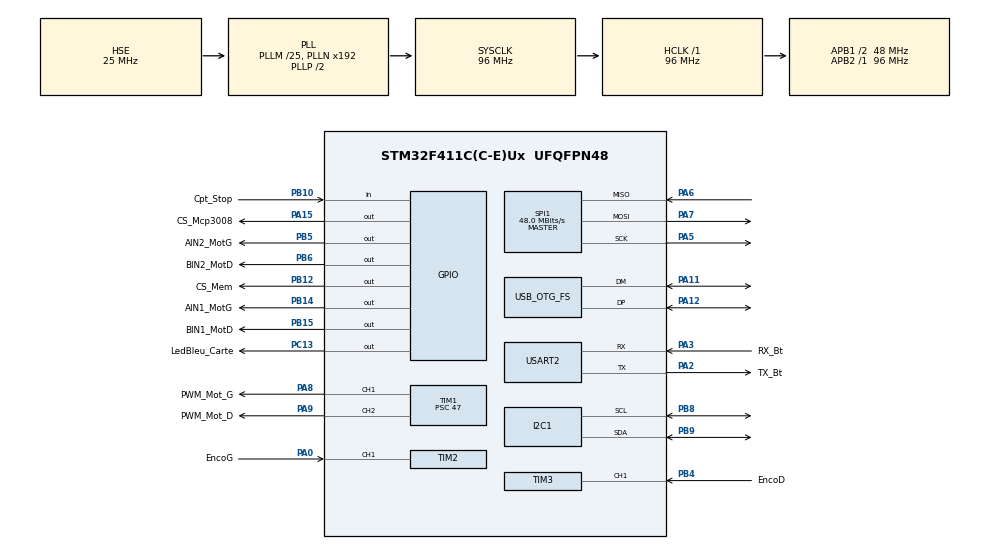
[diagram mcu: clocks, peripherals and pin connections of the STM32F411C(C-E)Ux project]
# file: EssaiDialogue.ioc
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Dma.Request0=USART2_RX
Dma.Request1=USART2_TX
Dma.USART2_RX.0.Direction=DMA_PERIPH_TO_MEMORY
Dma.USART2_RX.0.FIFOMode=DMA_FIFOMODE_DISABLE
Dma.USART2_RX.0.Instance=DMA1_Stream5
Dma.USART2_RX.0.MemDataAlignment=DMA_MDATAALIGN_BYTE
Dma.USART2_RX.0.MemInc=DMA_MINC_ENABLE
Dma.USART2_RX.0.Mode=DMA_CIRCULAR
Dma.USART2_RX.0.PeriphDataAlignment=DMA_PDATAALIGN_BYTE
Dma.USART2_RX.0.PeriphInc=DMA_PINC_DISABLE
Dma.USART2_RX.0.Priority=DMA_PRIORITY_LOW
Dma.USART2_TX.1.Direction=DMA_MEMORY_TO_PERIPH
Dma.USART2_TX.1.FIFOMode=DMA_FIFOMODE_DISABLE
Dma.USART2_TX.1.Instance=DMA1_Stream6
Dma.USART2_TX.1.MemDataAlignment=DMA_MDATAALIGN_BYTE
Dma.USART2_TX.1.MemInc=DMA_MINC_ENABLE
Dma.USART2_TX.1.Mode=DMA_NORMAL
Dma.USART2_TX.1.PeriphDataAlignment=DMA_PDATAALIGN_BYTE
Dma.USART2_TX.1.PeriphInc=DMA_PINC_DISABLE
Dma.USART2_TX.1.Priority=DMA_PRIORITY_LOW
Mcu.Family=STM32F4
Mcu.Name=STM32F411C(C-E)Ux
Mcu.Package=UFQFPN48
NVIC.DMA1_Stream5_IRQn=true\:0\:0\:false\:false\:true\:false\:true\:true
NVIC.DMA1_Stream6_IRQn=true\:0\:0\:false\:false\:true\:false\:true\:true
NVIC.OTG_FS_IRQn=true\:0\:0\:false\:false\:true\:false\:true\:true
NVIC.PriorityGroup=NVIC_PRIORITYGROUP_4
NVIC.TIM3_IRQn=true\:0\:0\:false\:false\:true\:true\:true\:true
NVIC.USART2_IRQn=true\:0\:0\:false\:false\:true\:true\:true\:true
PA0-WKUP.GPIO_Label=EncoG
PA0-WKUP.GPIO_PuPd=GPIO_PULLUP
PA0-WKUP.Signal=S_TIM2_CH1_ETR
PA11.Mode=Device_Only
PA11.Signal=USB_OTG_FS_DM
PA12.Mode=Device_Only
PA12.Signal=USB_OTG_FS_DP
PA13.Mode=Serial_Wire
PA13.Signal=SYS_JTMS-SWDIO
PA14.Mode=Serial_Wire
PA14.Signal=SYS_JTCK-SWCLK
PA15.GPIO_Label=CS_Mcp3008
PA15.Signal=GPIO_Output
PA2.GPIO_Label=TX_Bt
PA2.Mode=Asynchronous
PA2.Signal=USART2_TX
PA3.GPIO_Label=RX_Bt
PA3.Mode=Asynchronous
PA3.Signal=USART2_RX
PA5.Mode=Full_Duplex_Master
PA5.Signal=SPI1_SCK
PA6.Mode=Full_Duplex_Master
PA6.Signal=SPI1_MISO
PA7.Mode=Full_Duplex_Master
PA7.Signal=SPI1_MOSI
PA8.GPIO_Label=PWM_Mot_G
PA8.Signal=S_TIM1_CH1
PA9.GPIO_Label=PWM_Mot_D
PA9.Signal=S_TIM1_CH2
PB10.GPIO_Label=Cpt_Stop
PB10.Signal=GPIO_Input
PB12.GPIO_Label=CS_Mem
PB12.Signal=GPIO_Output
PB14.GPIO_Label=AIN1_MotG
PB14.Signal=GPIO_Output
PB15.GPIO_Label=BIN1_MotD
PB15.Signal=GPIO_Output
PB4.GPIO_Label=EncoD
PB4.GPIO_PuPd=GPIO_PULLUP
PB4.Signal=S_TIM3_CH1
PB5.GPIO_Label=AIN2_MotG
PB5.Signal=GPIO_Output
PB6.GPIO_Label=BIN2_MotD
PB6.Signal=GPIO_Output
PB8.Mode=I2C
PB8.Signal=I2C1_SCL
PB9.Mode=I2C
PB9.Signal=I2C1_SDA
PC13-ANTI_TAMP.GPIO_Label=LedBleu_Carte
PC13-ANTI_TAMP.Signal=GPIO_Output
PH0\ -\ OSC_IN.Mode=HSE-External-Oscillator
PH0\ -\ OSC_IN.Signal=RCC_OSC_IN
PH1\ -\ OSC_OUT.Mode=HSE-External-Oscillator
PH1\ -\ OSC_OUT.Signal=RCC_OSC_OUT
ProjectManager.HeapSize=0x200
ProjectManager.StackSize=0x400
ProjectManager.TargetToolchain=STM32CubeIDE
RCC.48MHZClocksFreq_Value=48000000
RCC.AHBFreq_Value=96000000
RCC.APB1CLKDivider=RCC_HCLK_DIV2
RCC.APB1Freq_Value=48000000
RCC.APB1TimFreq_Value=96000000
RCC.APB2Freq_Value=96000000
RCC.APB2TimFreq_Value=96000000
RCC.CortexFreq_Value=96000000
RCC.HCLKFreq_Value=96000000
RCC.HSE_VALUE=25000000
RCC.HSI_VALUE=16000000
RCC.LSE_VALUE=32768
RCC.PLLM=25
RCC.SYSCLKFreq_VALUE=96000000
RCC.SYSCLKSource=RCC_SYSCLKSOURCE_PLLCLK
RCC.VCOOutputFreq_Value=192000000
SH.S_TIM1_CH1.0=TIM1_CH1,PWM Generation1 CH1
SH.S_TIM1_CH2.0=TIM1_CH2,PWM Generation2 CH2
SH.S_TIM2_CH1_ETR.0=TIM2_CH1,TriggerSource_TI1ED
SH.S_TIM3_CH1.0=TIM3_CH1,TriggerSource_TI1ED
SPI1.CalculateBaudRate=48.0 MBits/s
SPI1.Direction=SPI_DIRECTION_2LINES
SPI1.Mode=SPI_MODE_MASTER
SPI1.VirtualType=VM_MASTER
TIM1.Channel-PWM\ Generation1\ CH1=TIM_CHANNEL_1
TIM1.Channel-PWM\ Generation2\ CH2=TIM_CHANNEL_2
TIM1.Period=99
TIM1.Prescaler=47
TIM2.Channel-Input_Capture1_from_TRC=TIM_CHANNEL_1
TIM3.Channel-Input_Capture1_from_TRC=TIM_CHANNEL_1
USART2.VirtualMode=VM_ASYNC
USB_DEVICE.CLASS_NAME_FS=CDC
USB_DEVICE.VirtualMode=Cdc
USB_DEVICE.VirtualModeFS=Cdc_FS
USB_OTG_FS.VirtualMode=Device_Only
VP_TIM1_VS_ClockSourceINT.Mode=Internal
VP_TIM2_VS_CH1.Mode=Input_Capture1_from_TRC
VP_TIM2_VS_ControllerModeClock.Mode=Clock Mode
VP_TIM3_VS_CH1.Mode=Input_Capture1_from_TRC
VP_TIM3_VS_ControllerModeClock.Mode=Clock Mode
VP_USB_DEVICE_VS_USB_DEVICE_CDC_FS.Mode=CDC_FS
board=custom

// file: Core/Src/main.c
/* USER CODE BEGIN Header */
/**
  ******************************************************************************
  * @file           : main.c
  * @brief          : Main program body
  ******************************************************************************
  * @attention
  *
  * Copyright (c) 2026 STMicroelectronics.
  * All rights reserved.
  *
  * This software is licensed under terms that can be found in the LICENSE file
  * in the root directory of this software component.
  * If no LICENSE file comes with this software, it is provided AS-IS.
  *
  ******************************************************************************
  */
/* USER CODE END Header */
#include "main.h"
#include "dma.h"
#include "i2c.h"
#include "spi.h"
#include "tim.h"
#include "usart.h"
#include "usb_device.h"
#include "gpio.h"

/* USER CODE BEGIN Includes */
/* USER CODE BEGIN Includes */
#include "usbd_cdc_if.h"
#include "dialogue.h"
#include "systeme.h"
#include "moteur.h"
#include "compteur.h"
#include "gestion_vitesse.h"
#include "diag.h"
/* USER CODE END Includes */

/* USER CODE BEGIN PV */
char commande[256];
uint32_t compteur2;

/* USER CODE BEGIN PFP */

/* USER CODE END PFP */
/* USER CODE END PV */

void SystemClock_Config(void);

/* USER CODE BEGIN 0 */

//===============================================================================

/* USER CODE END 0 */

int main(void)
{

  /* MCU Configuration--------------------------------------------------------*/

  /* Reset of all peripherals, Initializes the Flash interface and the Systick. */
  HAL_Init();

  /* Configure the system clock */
  SystemClock_Config();

  /* Initialize all configured peripherals */
  MX_GPIO_Init();
  MX_DMA_Init();
  MX_SPI1_Init();
  MX_TIM2_Init();
  MX_TIM3_Init();
  MX_USB_DEVICE_Init();
  MX_TIM1_Init();
  MX_I2C1_Init();
  MX_USART2_UART_Init();
  /* USER CODE BEGIN 2 */

  Dialogue_Init();
  DWT_Init();
  Moteur_Initialiser();
  Compteur_Start();

  // Petit message de démarrage envoyé au Bluetooth via le DMA
    Bluetooth_Send_DMA("Blackpill F411 Demarree ! Ready.\n");
  /* USER CODE END 2 */

  /* Infinite loop */
  /* USER CODE BEGIN WHILE */
  while (1)
  {
	  uint32_t debutDeBoucle = get_time_us();
	  Dialogue_Process();

	  BattementCoeur();

//	  Moteur_DefinirGauche(vitesse);
//	  Moteur_DefinirDroite(vitesse);
//	  Moteur_Traitement();

	  Diag_moteur();

	  uint32_t positionGauche = Compteur_GetGauche();
	  uint32_t positionDroite = Compteur_GetDroite();

	  uint32_t finDeboucle = get_time_us();

	  uint32_t tempDeBoucle = finDeboucle - debutDeBoucle;

	 	if (HAL_GetTick() - compteur2 >= 2000) {
	  			compteur2 = HAL_GetTick();
	  			printf("Temps de boucle: %lu us\r\n", tempDeBoucle);
	  			printf("Copteur G: %lu CompteurD %lu\r\n",positionGauche, positionDroite );
	  			Bluetooth_Send_DMA("Temps de boucle %d\n", tempDeBoucle);

	  	}

    /* USER CODE END WHILE */

  }
}

void SystemClock_Config(void)
{
  RCC_OscInitTypeDef RCC_OscInitStruct = {0};
  RCC_ClkInitTypeDef RCC_ClkInitStruct = {0};

  /** Configure the main internal regulator output voltage
  */
  __HAL_RCC_PWR_CLK_ENABLE();
  __HAL_PWR_VOLTAGESCALING_CONFIG(PWR_REGULATOR_VOLTAGE_SCALE1);

  /** Initializes the RCC Oscillators according to the specified parameters
  * in the RCC_OscInitTypeDef structure.
  */
  RCC_OscInitStruct.OscillatorType = RCC_OSCILLATORTYPE_HSE;
  RCC_OscInitStruct.HSEState = RCC_HSE_ON;
  RCC_OscInitStruct.PLL.PLLState = RCC_PLL_ON;
  RCC_OscInitStruct.PLL.PLLSource = RCC_PLLSOURCE_HSE;
  RCC_OscInitStruct.PLL.PLLM = 25;
  RCC_OscInitStruct.PLL.PLLN = 192;
  RCC_OscInitStruct.PLL.PLLP = RCC_PLLP_DIV2;
  RCC_OscInitStruct.PLL.PLLQ = 4;
  if (HAL_RCC_OscConfig(&RCC_OscInitStruct) != HAL_OK)
  {
    Error_Handler();
  }

  /** Initializes the CPU, AHB and APB buses clocks
  */
  RCC_ClkInitStruct.ClockType = RCC_CLOCKTYPE_HCLK|RCC_CLOCKTYPE_SYSCLK
                              |RCC_CLOCKTYPE_PCLK1|RCC_CLOCKTYPE_PCLK2;
  RCC_ClkInitStruct.SYSCLKSource = RCC_SYSCLKSOURCE_PLLCLK;
  RCC_ClkInitStruct.AHBCLKDivider = RCC_SYSCLK_DIV1;
  RCC_ClkInitStruct.APB1CLKDivider = RCC_HCLK_DIV2;
  RCC_ClkInitStruct.APB2CLKDivider = RCC_HCLK_DIV1;

  if (HAL_RCC_ClockConfig(&RCC_ClkInitStruct, FLASH_LATENCY_3) != HAL_OK)
  {
    Error_Handler();
  }
}

/* USER CODE BEGIN 4 */
//==============Obligatoire pour envoyer printf vers usb===================================
int _write(int file, char *data, int len)
{
    uint32_t tickstart = HAL_GetTick();

    // On tente d'envoyer les données via USB CDC
    // CDC_Transmit_FS retourne USBD_BUSY si l'USB n'est pas prêt
    while (CDC_Transmit_FS((uint8_t*)data, len) == USBD_BUSY)
    {
        // Timeout de 10 ms — suffisant pour un buffer USB FS (1 ms/trame)
        if ((HAL_GetTick() - tickstart) > 10)
            return 0;
    }
    // Si on sort de la boucle, l'envoi a été accepté
       return len;  // nombre d'octets "envoyés"
}
/* USER CODE END 4 */

void Error_Handler(void)
{
  __disable_irq();
  while (1)
  {
  }
}
